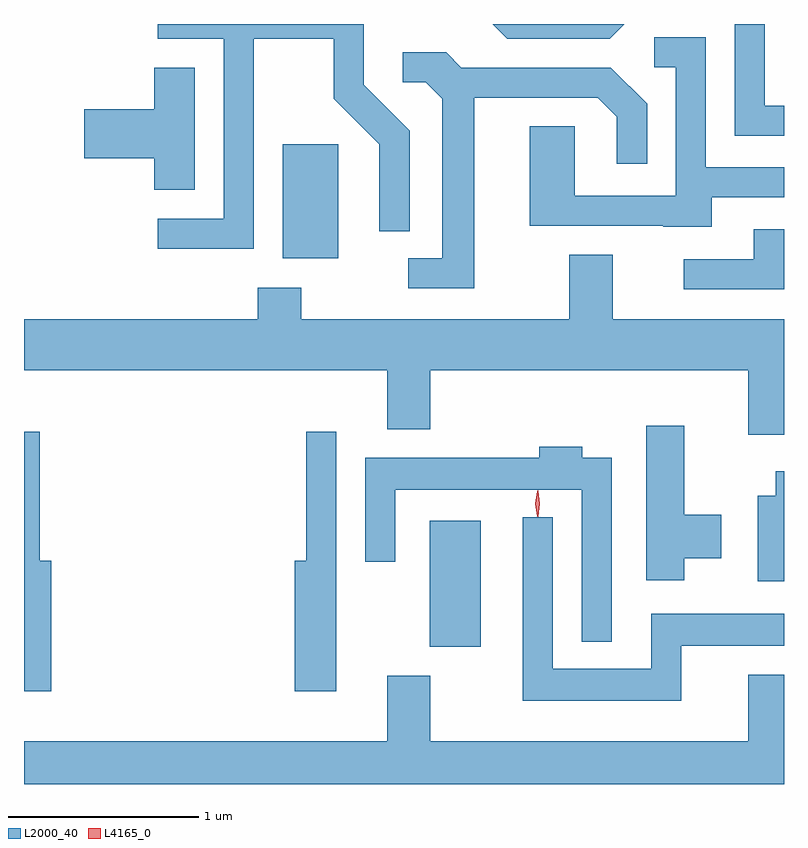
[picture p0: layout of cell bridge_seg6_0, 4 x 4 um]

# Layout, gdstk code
import gdstk
lib = gdstk.Library(unit=1e-6, precision=1e-09)
def R(c, l, rs):  # rectangles x0, y0, x1, y1
    for r in rs: c.add(gdstk.rectangle(r[:2], r[2:], *l))
def P(c, l, *ps):  # polygons
    for p in ps: c.add(gdstk.Polygon(p, *l))
L2000_40 = (2000, 40)
L4165_0 = (4165, 0)

bridge_seg6_0 = lib.new_cell('bridge_seg6_0')
R(bridge_seg6_0, L2000_40, [(1470.306,1635.161,1470.574,1635.824), (1469.531,1637.206,1469.824,1637.804)])
P(bridge_seg6_0, L2000_40, [(1472.17,1638.009),(1472.069,1638.009),(1472.069,1638.438),(1471.911,1638.438),(1471.911,1637.851),(1472.17,1637.851)],
  [(1471.329,1638.438),(1470.637,1638.438),(1470.714,1638.361),(1471.252,1638.361)],
  [(1469.379,1638.361),(1469.801,1638.361),(1469.801,1638.044),(1470.041,1637.804),(1470.041,1637.348),(1470.199,1637.348),(1470.199,1637.877),(1469.959,1638.117),(1469.959,1638.438),(1468.873,1638.438),(1468.873,1638.361),(1469.221,1638.361),(1469.221,1637.414),(1468.873,1637.414),(1468.873,1637.256),(1469.379,1637.256)],
  [(1471.789,1637.526),(1472.17,1637.526),(1472.17,1637.684),(1471.759,1637.684),(1471.759,1638.369),(1471.488,1638.369),(1471.488,1638.211),(1471.601,1638.211),(1471.601,1637.534),(1471.069,1637.534),(1471.069,1637.899),(1470.831,1637.899),(1470.831,1637.376),(1471.535,1637.376),(1471.535,1637.371),(1471.789,1637.371)],
  [(1470.539,1638.051),(1471.189,1638.051),(1471.291,1637.949),(1471.291,1637.703),(1471.449,1637.703),(1471.449,1638.017),(1471.257,1638.209),(1470.472,1638.209),(1470.392,1638.289),(1470.163,1638.289),(1470.163,1638.131),(1470.284,1638.131),(1470.371,1638.044),(1470.371,1637.204),(1470.193,1637.204),(1470.193,1637.046),(1470.539,1637.046)],
  [(1469.069,1638.209),(1468.856,1638.209),(1468.856,1637.989),(1468.486,1637.989),(1468.486,1637.731),(1468.856,1637.731),(1468.856,1637.566),(1469.069,1637.566)],
  [(1472.17,1637.359),(1472.011,1637.359),(1472.011,1637.199),(1471.643,1637.199),(1471.643,1637.041),(1472.17,1637.041)],
  [(1469.629,1637.049),(1469.401,1637.049),(1469.401,1636.884),(1468.17,1636.884),(1468.17,1636.616),(1470.081,1636.616),(1470.081,1636.306),(1470.309,1636.306),(1470.309,1636.616),(1471.981,1636.616),(1471.981,1636.276),(1472.17,1636.276),(1472.17,1636.884),(1471.269,1636.884),(1471.269,1637.224),(1471.041,1637.224),(1471.041,1636.884),(1469.629,1636.884)],
  [(1471.644,1635.626),(1471.839,1635.626),(1471.839,1635.854),(1471.644,1635.854),(1471.644,1636.324),(1471.446,1636.324),(1471.446,1635.511),(1471.644,1635.511)],
  [(1468.314,1635.614),(1468.254,1635.614),(1468.254,1636.293),(1468.17,1636.293),(1468.17,1634.926),(1468.314,1634.926)],
  [(1469.814,1636.293),(1469.656,1636.293),(1469.656,1635.614),(1469.596,1635.614),(1469.596,1634.926),(1469.814,1634.926)],
  [(1471.264,1636.154),(1471.109,1636.154),(1471.109,1636.214),(1470.881,1636.214),(1470.881,1636.154),(1469.966,1636.154),(1469.966,1635.608),(1470.124,1635.608),(1470.124,1635.986),(1471.106,1635.986),(1471.106,1635.188),(1471.264,1635.188)],
  [(1472.17,1636.084),(1472.126,1636.084),(1472.126,1635.954),(1472.031,1635.954),(1472.031,1635.506),(1472.17,1635.506)],
  [(1471.629,1635.166),(1472.17,1635.166),(1472.17,1635.334),(1471.471,1635.334),(1471.471,1635.044),(1470.954,1635.044),(1470.954,1635.843),(1470.796,1635.843),(1470.796,1634.876),(1471.629,1634.876)],
  [(1472.17,1635.014),(1471.981,1635.014),(1471.981,1634.664),(1470.309,1634.664),(1470.309,1635.009),(1470.081,1635.009),(1470.081,1634.664),(1468.17,1634.664),(1468.17,1634.438),(1472.17,1634.438)])
P(bridge_seg6_0, L4165_0, [(1470.874,1635.844),(1470.865,1635.914),(1470.874,1635.982),(1470.875,1635.983),(1470.876,1635.982),(1470.885,1635.914),(1470.876,1635.844),(1470.875,1635.844)],
  [(1470.872,1635.847),(1470.872,1635.848),(1470.862,1635.914),(1470.872,1635.98),(1470.872,1635.98),(1470.873,1635.98),(1470.882,1635.914),(1470.873,1635.848)])

lib.write_gds('bridge_seg6_0.gds')
